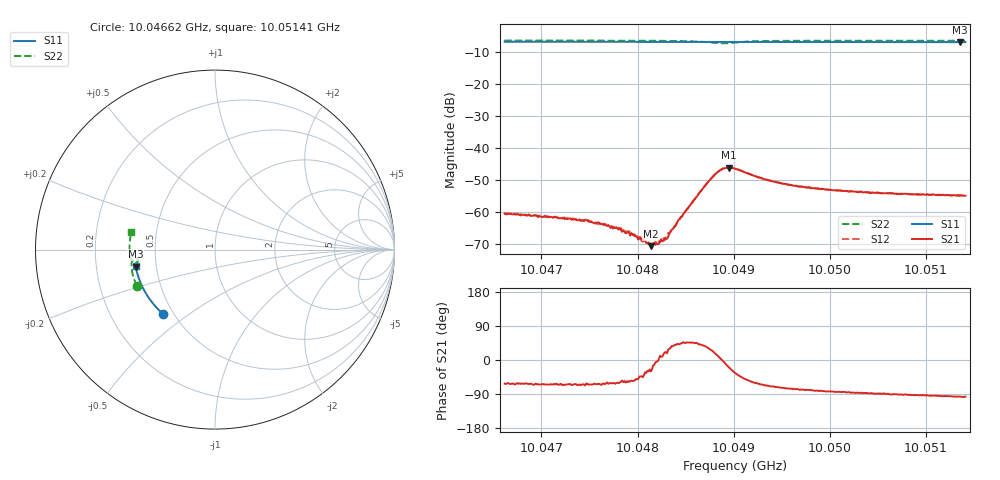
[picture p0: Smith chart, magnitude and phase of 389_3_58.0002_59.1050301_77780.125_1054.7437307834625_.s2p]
#  HZ  S  RI  R  50.00
! Rohde & Schwarz Vector Network Analyzer
! Rohde-Schwarz,ZNB20-2Port,1311601062101988,3.16
! Created: UTC 3/21/2024, 1:07:46 AM
! freq[Hz]  re:S11  im:S11  re:S21  im:S21  re:S12  im:S12  re:S22  im:S22
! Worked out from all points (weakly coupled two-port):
!   401 points, 10.04662 GHz to 10.05141 GHz, reference 50 ohm
!   highest |S21| = -46.13 dB at 10.04895 GHz (marker M1); lowest = -70.7 dB at 10.04814 GHz (marker M2)
!   lowest |S11| = -6.9 dB at 10.05135 GHz (marker M3), VSWR 2.65, Z = 19 - j4.52 ohm
!   |S11| at or under -10 dB: nowhere
!   |S22| runs from -7.3 to -6.4 dB; largest |S21 - S12| = 0.00033
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1.0046617e10  -0.2891 -0.3584  0.000438 -0.000837  0.000514 -0.000814  -0.4358 -0.2025
1.0047216e10  -0.3178 -0.3314  0.000319 -0.000729  0.000388 -0.000718  -0.4504 -0.1646
1.004742e10  -0.3272 -0.3215  0.00031 -0.000672  0.000343 -0.000643  -0.4544 -0.1512
1.00476e10  -0.335 -0.3128  0.000309 -0.000609  0.00035 -0.000584  -0.4579 -0.1392
1.0047827e10  -0.3447 -0.3013  0.000282 -0.000442  0.000328 -0.000455  -0.4615 -0.1233
1.0047959e10  -0.3502 -0.2944  0.000256 -0.000367  0.000315 -0.000325  -0.4632 -0.1138
1.0048043e10  -0.3537 -0.2901  0.00026 -0.000243  0.000307 -0.000224  -0.4642 -0.1074
1.0048103e10  -0.3561 -0.2871  0.000285 -0.000156  0.000292 -0.000136  -0.4647 -0.103
1.0048139e10  -0.3574 -0.2852  0.000253 -0.000148  0.00031 -0.000127  -0.4651 -0.1001
1.0048223e10  -0.3609 -0.2807  0.000324 2.38e-05  0.000359 1.62e-05  -0.4657 -0.0935
1.0048283e10  -0.3631 -0.2774  0.000368 0.000135  0.000339 0.000124  -0.4659 -0.0886
1.0048319e10  -0.3644 -0.2757  0.000363 0.000191  0.000397 0.000259  -0.4658 -0.0856
1.0048451e10  -0.3695 -0.2684  0.000606 0.000588  0.000567 0.000607  -0.4648 -0.074
1.0048774e10  -0.3808 -0.2503  0.00311 0.00144  0.00307 0.00163  -0.4415 -0.0481
1.004887e10  -0.3838 -0.2452  0.00461 0.000165  0.00462 0.000435  -0.43 -0.0563
1.0048954e10  -0.3867 -0.2405  0.00463 -0.00171  0.00476 -0.00143  -0.4327 -0.069
1.0049014e10  -0.3887 -0.2373  0.00395 -0.00266  0.00415 -0.00243  -0.4407 -0.0732
1.0049386e10  -0.4005 -0.2159  0.00109 -0.00287  0.00127 -0.00282  -0.4703 -0.0472
1.0049817e10  -0.4126 -0.1902  0.000408 -0.00233  0.000544 -0.00234  -0.476 -0.0129
1.005062e10  -0.4307 -0.1407  1.88e-06 -0.00198  0.000106 -0.00197  -0.4746 0.0437
1.0051352e10  -0.4421 -0.0943  -0.000201 -0.00178  -9.94e-05 -0.0018  -0.4672 0.0922
1.0051412e10  -0.4429 -0.0903  -0.000206 -0.00178  -0.000101 -0.00181  -0.4664 0.096
